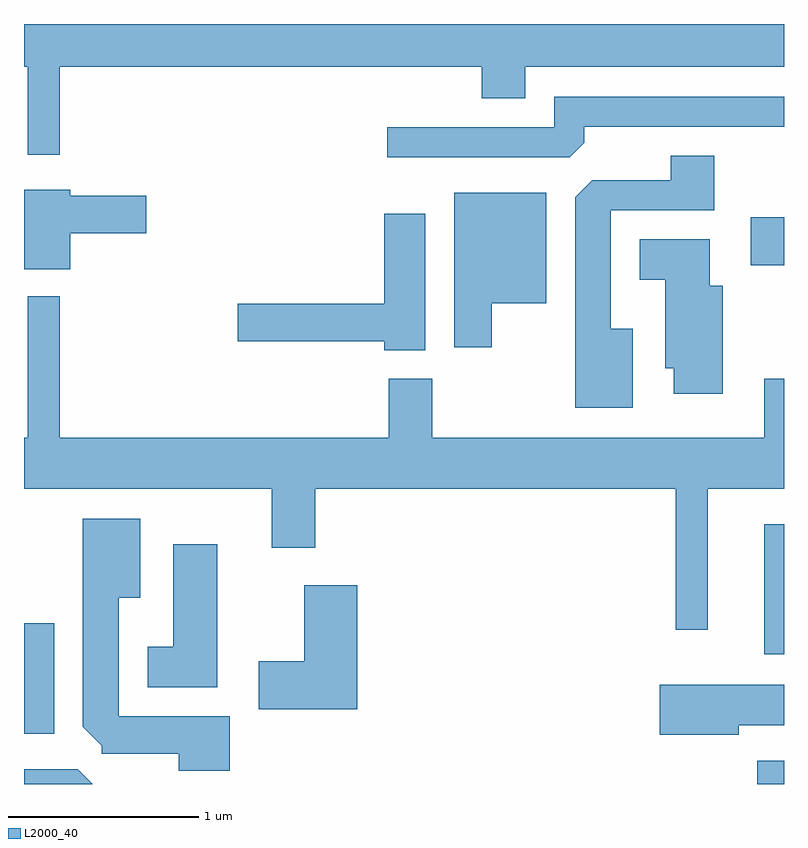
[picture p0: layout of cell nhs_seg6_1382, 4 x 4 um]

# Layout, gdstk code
import gdstk
lib = gdstk.Library(unit=1e-6, precision=1e-09)
def R(c, l, rs):  # rectangles x0, y0, x1, y1
    for r in rs: c.add(gdstk.rectangle(r[:2], r[2:], *l))
def P(c, l, *ps):  # polygons
    for p in ps: c.add(gdstk.Polygon(p, *l))
L2000_40 = (2000, 40)

nhs_seg6_1382 = lib.new_cell('nhs_seg6_1382')
R(nhs_seg6_1382, L2000_40, [(229.471,1646.162,229.611,1646.284), (225.611,1646.426,225.769,1647.009), (229.506,1646.846,229.611,1647.528), (229.436,1648.891,229.611,1649.144)])
P(nhs_seg6_1382, L2000_40, [(225.799,1649.936),(228.021,1649.936),(228.021,1649.771),(228.249,1649.771),(228.249,1649.936),(229.611,1649.936),(229.611,1650.162),(225.611,1650.162),(225.611,1649.936),(225.631,1649.936),(225.631,1649.473),(225.799,1649.473)],
  [(228.559,1649.537),(228.559,1649.621),(229.611,1649.621),(229.611,1649.779),(228.401,1649.779),(228.401,1649.619),(227.523,1649.619),(227.523,1649.461),(228.484,1649.461)],
  [(228.814,1648.559),(228.699,1648.559),(228.699,1649.181),(229.244,1649.181),(229.244,1649.469),(229.016,1649.469),(229.016,1649.339),(228.602,1649.339),(228.511,1649.249),(228.511,1648.141),(228.814,1648.141)],
  [(225.854,1649.061),(226.254,1649.061),(226.254,1649.259),(225.854,1649.259),(225.854,1649.289),(225.611,1649.289),(225.611,1648.871),(225.854,1648.871)],
  [(228.074,1648.691),(228.359,1648.691),(228.359,1649.274),(227.876,1649.274),(227.876,1648.461),(228.074,1648.461)],
  [(227.724,1649.164),(227.506,1649.164),(227.506,1648.689),(226.736,1648.689),(226.736,1648.491),(227.506,1648.491),(227.506,1648.446),(227.724,1648.446)],
  [(229.289,1648.784),(229.219,1648.784),(229.219,1649.029),(228.851,1649.029),(228.851,1648.816),(228.986,1648.816),(228.986,1648.351),(229.031,1648.351),(229.031,1648.216),(229.289,1648.216)],
  [(229.209,1647.716),(229.611,1647.716),(229.611,1648.294),(229.506,1648.294),(229.506,1647.984),(227.759,1647.984),(227.759,1648.294),(227.531,1648.294),(227.531,1647.984),(225.799,1647.984),(225.799,1648.728),(225.631,1648.728),(225.631,1647.984),(225.611,1647.984),(225.611,1647.716),(226.916,1647.716),(226.916,1647.406),(227.144,1647.406),(227.144,1647.716),(229.041,1647.716),(229.041,1646.973),(229.209,1646.973)],
  [(226.694,1646.519),(226.109,1646.519),(226.109,1647.141),(226.224,1647.141),(226.224,1647.559),(225.921,1647.559),(225.921,1646.464),(226.021,1646.364),(226.021,1646.321),(226.426,1646.321),(226.426,1646.231),(226.694,1646.231)],
  [(226.629,1647.424),(226.396,1647.424),(226.396,1646.884),(226.261,1646.884),(226.261,1646.671),(226.629,1646.671)],
  [(227.364,1647.209),(227.086,1647.209),(227.086,1646.809),(226.846,1646.809),(226.846,1646.556),(227.364,1646.556)],
  [(229.374,1646.471),(229.611,1646.471),(229.611,1646.684),(228.956,1646.684),(228.956,1646.421),(229.374,1646.421)],
  [(225.969,1646.164),(225.894,1646.239),(225.611,1646.239),(225.611,1646.162),(225.969,1646.162)])

lib.write_gds('nhs_seg6_1382.gds')
